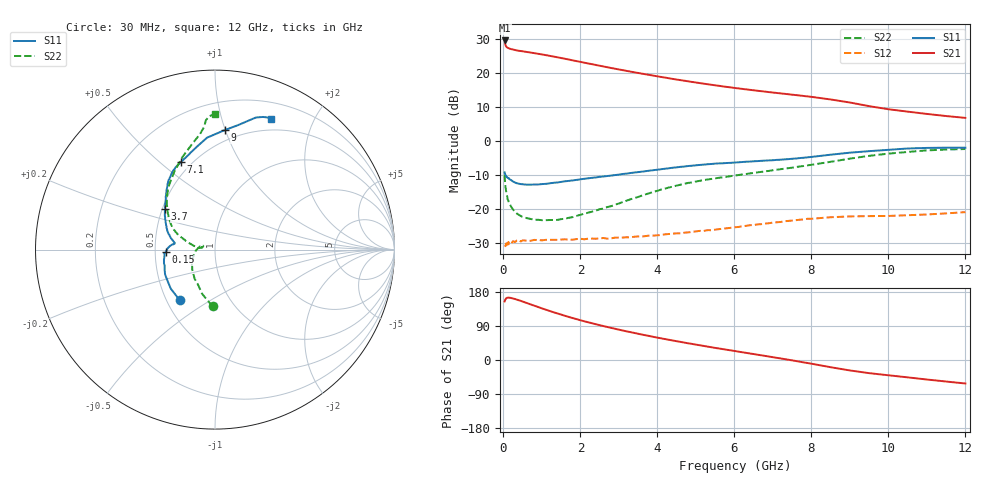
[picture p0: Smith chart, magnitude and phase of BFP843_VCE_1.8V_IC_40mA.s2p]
! Infineon Technologies  Discrete & RF Semiconductors
! BFP843
! VCE =  1.8 V,  IC =  40 mA
! Common Emitter S-Parameters:  Aug 2013
# GHz  S  MA  R  50
!  f  S11  S21  S12  S22
! GHz  MAG  ANG  MAG  ANG  MAG  ANG  MAG  ANG
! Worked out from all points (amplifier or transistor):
!   103 points, 30 MHz to 12 GHz, reference 50 ohm
!   highest |S21| = 29.4 dB at 30 MHz (marker M1)
!   |S21| within 3 dB of that: start of sweep to 385.4 MHz
!   unconditionally stable (mu >= 1): 81.57 MHz to 97.34 MHz; 105.8 MHz to 10.44 GHz
!   at 400 MHz: K = 1.03, MAG = 26.8 dB, |S12| = -29.1 dB
!   at 3.7 GHz: K = 1.35, MAG = 20.2 dB, |S12| = -28.0 dB
!   at 12 GHz: K = 0.84, MSG = 13.8 dB, |S12| = -20.9 dB
!   S11 on the Smith chart (normalised r, x): 30 MHz: 0.58, -0.38; 150 MHz: 0.57, -0.02; 3.7 GHz: 0.52, +0.27; 7.1 GHz: 0.44, +0.59; 9 GHz: 0.41, +1.00; 12 GHz: 0.37, +1.45
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0.03  0.3443 -124.6  29.68 154.5  0.0287 28.1  0.3166 -92.5
0.04  0.3287 -138.6  27.05 156.9  0.0288 20.7  0.2565 -106.3
0.05  0.3166 -146.6  25.7 160.2  0.0284 24.1  0.2141 -116.8
0.07  0.3019 -158.4  24.11 162.7  0.0311 16.1  0.1803 -132.1
0.1  0.2892 -169.5  23.32 164.4  0.0339 17.1  0.1482 -151.3
0.15  0.275 -176.8  22.66 164.4  0.0311 11.6  0.1217 -166.2
0.3  0.2439 173.9  21.49 160.9  0.0326 5.5  0.0907 173.2
0.7  0.2273 170.9  19.73 146.9  0.034 6.3  0.0714 162.2
1.1  0.2334 169.2  18.09 132.8  0.0352 4.9  0.0684 164.4
1.6  0.2543 165.4  15.99 116.6  0.0358 7.1  0.072 170.5
2.1  0.2771 160.4  14 102.2  0.0358 8.8  0.0852 173.1
2.8  0.3085 152.3  11.7 84.7  0.037 11.0  0.1099 171.3
3.2  0.3298 147.3  10.62 75.6  0.0384 12.6  0.1322 167.9
3.7  0.3584 140.9  9.451 65.1  0.04 14.1  0.1642 163.8
4.1  0.3831 136.1  8.636 57.1  0.0415 15.1  0.1928 160.4
5  0.4366 127.7  7.167 40.6  0.0468 16.5  0.2524 154.4
6.1  0.4829 120.5  5.875 22.1  0.0543 16.2  0.314 145.2
7.1  0.5245 111.2  5.032 5.7  0.0637 12.6  0.376 135.5
8.5  0.625 94.1  4.041 -19.0  0.0755 2.6  0.4915 117.3
9  0.6689 85.2  3.644 -27.6  0.0776 -1.6  0.5472 109.3
10.5  0.7705 72.8  2.679 -45.8  0.0808 -9.3  0.6853 95.1
12  0.7922 67.0  2.167 -62.0  0.0898 -16.6  0.757 90.1
